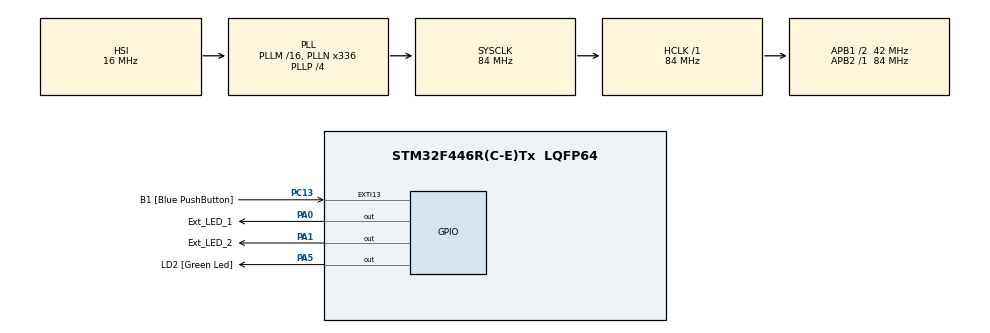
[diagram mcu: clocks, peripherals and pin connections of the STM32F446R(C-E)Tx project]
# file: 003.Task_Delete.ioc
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Mcu.Family=STM32F4
Mcu.Name=STM32F446R(C-E)Tx
Mcu.Package=LQFP64
NVIC.PriorityGroup=NVIC_PRIORITYGROUP_4
NVIC.TIM6_DAC_IRQn=true\:0\:0\:false\:false\:true\:false\:true\:true
NVIC.TimeBase=TIM6_DAC_IRQn
NVIC.TimeBaseIP=TIM6
PA0-WKUP.GPIO_Label=Ext_LED_1
PA0-WKUP.Signal=GPIO_Output
PA1.GPIO_Label=Ext_LED_2
PA1.Signal=GPIO_Output
PA13.GPIO_Label=TMS
PA13.Signal=SYS_JTMS-SWDIO
PA14.GPIO_Label=TCK
PA14.Signal=SYS_JTCK-SWCLK
PA2.GPIO_Label=USART_TX
PA2.Signal=USART2_TX
PA3.GPIO_Label=USART_RX
PA3.Signal=USART2_RX
PA5.GPIO_Label=LD2 [Green Led]
PA5.Signal=GPIO_Output
PB3.GPIO_Label=SWO
PB3.Signal=SYS_JTDO-SWO
PC13.GPIO_Label=B1 [Blue PushButton]
PC13.GPIO_ModeDefaultEXTI=GPIO_MODE_IT_FALLING
PC13.Signal=GPXTI13
PC14-OSC32_IN.Signal=RCC_OSC32_IN
PC15-OSC32_OUT.Signal=RCC_OSC32_OUT
PH0-OSC_IN.Signal=RCC_OSC_IN
PH1-OSC_OUT.Signal=RCC_OSC_OUT
ProjectManager.HeapSize=0x200
ProjectManager.StackSize=0x400
ProjectManager.TargetToolchain=STM32CubeIDE
RCC.AHBFreq_Value=84000000
RCC.APB1CLKDivider=RCC_HCLK_DIV2
RCC.APB1Freq_Value=42000000
RCC.APB1TimFreq_Value=84000000
RCC.APB2Freq_Value=84000000
RCC.APB2TimFreq_Value=84000000
RCC.CortexFreq_Value=84000000
RCC.FLatency-AdvancedSettings=FLASH_LATENCY_2
RCC.HCLKFreq_Value=84000000
RCC.HSE_VALUE=8000000
RCC.HSI_VALUE=16000000
RCC.LSE_VALUE=32768
RCC.PLLN=336
RCC.PLLP=RCC_PLLP_DIV4
RCC.SYSCLKFreq_VALUE=84000000
RCC.SYSCLKSource=RCC_SYSCLKSOURCE_PLLCLK
RCC.USBFreq_Value=168000000
RCC.VCOOutputFreq_Value=336000000
VP_SYS_VS_tim6.Mode=TIM6
board=NUCLEO-F446RE

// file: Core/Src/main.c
/* USER CODE BEGIN Header */
/**
  ******************************************************************************
  * @file           : main.c
  * @brief          : Main program body
  ******************************************************************************
  * @attention
  *
  * Copyright (c) 2025 STMicroelectronics.
  * All rights reserved.
  *
  * This software is licensed under terms that can be found in the LICENSE file
  * in the root directory of this software component.
  * If no LICENSE file comes with this software, it is provided AS-IS.
  *
  ******************************************************************************
  */
/* USER CODE END Header */
#include "main.h"

/* USER CODE BEGIN Includes */

#include <stdio.h>
#include "FreeRTOS.h"
#include "task.h"

/* USER CODE END Includes */

/* USER CODE BEGIN PV */

#define DWT_CTRL		(*(volatile uint32_t*)0xE0001000)

volatile uint8_t task_count =0;

/* USER CODE END PV */

void SystemClock_Config(void);
static void MX_GPIO_Init(void);
/* USER CODE BEGIN PFP */

static void Ext_LED1_task(void *parameter);
static void Ext_LED2_task(void *parameter);
static void Ext_LED3_task(void *parameter);
static void Button_task(void *parameter);

extern void SEGGER_UART_init(uint32_t);

TaskHandle_t Led1_task = NULL;
TaskHandle_t Led2_task = NULL;
TaskHandle_t Led3_task = NULL;
TaskHandle_t Btn_task = NULL;

TaskHandle_t volatile next_task_handle = NULL;

/* USER CODE END PFP */

int main(void)
{

  /* USER CODE BEGIN 1 */

	BaseType_t status;

  /* USER CODE END 1 */

  /* MCU Configuration--------------------------------------------------------*/

  /* Reset of all peripherals, Initializes the Flash interface and the Systick. */
  HAL_Init();

  /* Configure the system clock */
  SystemClock_Config();

  /* Initialize all configured peripherals */
  MX_GPIO_Init();
  /* USER CODE BEGIN 2 */

  SEGGER_UART_init(500000);

  //Enable the CYCCNT (Cyclic Clock Counter)
  DWT_CTRL |= (1 << 0);

  SEGGER_SYSVIEW_Conf();
  //SEGGER_SYSVIEW_Start(); // this is initialized in SEGGER_UART_Init();

  status = xTaskCreate(Ext_LED1_task, "LED1_Task", 200, NULL, 1, &Led1_task);
  configASSERT(status == pdPASS);

  next_task_handle = Led1_task;

  status = xTaskCreate(Ext_LED2_task, "LED2_Task", 200, NULL, 2, &Led2_task);
  configASSERT(status == pdPASS);

  status = xTaskCreate(Ext_LED3_task, "LED3_Task", 200, NULL, 3, &Led3_task);
  configASSERT(status == pdPASS);

  status = xTaskCreate(Button_task, "Button_Task", 200, NULL, 4, &Btn_task);
  configASSERT(status == pdPASS);

  vTaskStartScheduler();

  /* USER CODE END 2 */

  /* Infinite loop */
  while (1)
  {

  }
}

void SystemClock_Config(void)
{
  RCC_OscInitTypeDef RCC_OscInitStruct = {0};
  RCC_ClkInitTypeDef RCC_ClkInitStruct = {0};

  /** Configure the main internal regulator output voltage
  */
  __HAL_RCC_PWR_CLK_ENABLE();
  __HAL_PWR_VOLTAGESCALING_CONFIG(PWR_REGULATOR_VOLTAGE_SCALE3);

  /** Initializes the RCC Oscillators according to the specified parameters
  * in the RCC_OscInitTypeDef structure.
  */
  RCC_OscInitStruct.OscillatorType = RCC_OSCILLATORTYPE_HSI;
  RCC_OscInitStruct.HSIState = RCC_HSI_ON;
  RCC_OscInitStruct.HSICalibrationValue = RCC_HSICALIBRATION_DEFAULT;
  RCC_OscInitStruct.PLL.PLLState = RCC_PLL_ON;
  RCC_OscInitStruct.PLL.PLLSource = RCC_PLLSOURCE_HSI;
  RCC_OscInitStruct.PLL.PLLM = 16;
  RCC_OscInitStruct.PLL.PLLN = 336;
  RCC_OscInitStruct.PLL.PLLP = RCC_PLLP_DIV4;
  RCC_OscInitStruct.PLL.PLLQ = 2;
  RCC_OscInitStruct.PLL.PLLR = 2;
  if (HAL_RCC_OscConfig(&RCC_OscInitStruct) != HAL_OK)
  {
    Error_Handler();
  }

  /** Initializes the CPU, AHB and APB buses clocks
  */
  RCC_ClkInitStruct.ClockType = RCC_CLOCKTYPE_HCLK|RCC_CLOCKTYPE_SYSCLK
                              |RCC_CLOCKTYPE_PCLK1|RCC_CLOCKTYPE_PCLK2;
  RCC_ClkInitStruct.SYSCLKSource = RCC_SYSCLKSOURCE_PLLCLK;
  RCC_ClkInitStruct.AHBCLKDivider = RCC_SYSCLK_DIV1;
  RCC_ClkInitStruct.APB1CLKDivider = RCC_HCLK_DIV2;
  RCC_ClkInitStruct.APB2CLKDivider = RCC_HCLK_DIV1;

  if (HAL_RCC_ClockConfig(&RCC_ClkInitStruct, FLASH_LATENCY_2) != HAL_OK)
  {
    Error_Handler();
  }
}

static void MX_GPIO_Init(void)
{
  GPIO_InitTypeDef GPIO_InitStruct = {0};

  /* GPIO Ports Clock Enable */
  __HAL_RCC_GPIOC_CLK_ENABLE();
  __HAL_RCC_GPIOH_CLK_ENABLE();
  __HAL_RCC_GPIOA_CLK_ENABLE();
  __HAL_RCC_GPIOB_CLK_ENABLE();

  /*Configure GPIO pin Output Level */
  HAL_GPIO_WritePin(GPIOA, Ext_LED_1_Pin|Ext_LED_2_Pin|LD2_Pin, GPIO_PIN_RESET);

  /*Configure GPIO pin : B1_Pin */
  GPIO_InitStruct.Pin = B1_Pin;
  GPIO_InitStruct.Mode = GPIO_MODE_IT_FALLING;
  GPIO_InitStruct.Pull = GPIO_NOPULL;
  HAL_GPIO_Init(B1_GPIO_Port, &GPIO_InitStruct);

  /*Configure GPIO pins : Ext_LED_1_Pin Ext_LED_2_Pin LD2_Pin */
  GPIO_InitStruct.Pin = Ext_LED_1_Pin|Ext_LED_2_Pin|LD2_Pin;
  GPIO_InitStruct.Mode = GPIO_MODE_OUTPUT_PP;
  GPIO_InitStruct.Pull = GPIO_NOPULL;
  GPIO_InitStruct.Speed = GPIO_SPEED_FREQ_LOW;
  HAL_GPIO_Init(GPIOA, &GPIO_InitStruct);

  /*Configure GPIO pins : USART_TX_Pin USART_RX_Pin */
  GPIO_InitStruct.Pin = USART_TX_Pin|USART_RX_Pin;
  GPIO_InitStruct.Mode = GPIO_MODE_AF_PP;
  GPIO_InitStruct.Pull = GPIO_NOPULL;
  GPIO_InitStruct.Speed = GPIO_SPEED_FREQ_VERY_HIGH;
  GPIO_InitStruct.Alternate = GPIO_AF7_USART2;
  HAL_GPIO_Init(GPIOA, &GPIO_InitStruct);

}

/* USER CODE BEGIN 4 */

static void Ext_LED1_task(void *parameter)
{

	BaseType_t status;
	while(1)
	{
	SEGGER_SYSVIEW_PrintfTarget("LED1_Toggling");
	HAL_GPIO_TogglePin(GPIOA, GPIO_PIN_0);
	status = xTaskNotifyWait(0,0,NULL,pdMS_TO_TICKS(1000));

		if(status == pdTRUE)
		{
			vTaskSuspendAll();
			next_task_handle = Led2_task;
			xTaskResumeAll();
			HAL_GPIO_WritePin(GPIOA, GPIO_PIN_0, GPIO_PIN_SET);
			//vTaskDelete(NULL); // if we want delete task running task parameter should be NULL
			vTaskSuspend(Led1_task);

		}
	}
}
static void Ext_LED2_task(void *parameter)
{
	BaseType_t status;
	while(1){
	SEGGER_SYSVIEW_PrintfTarget("LED2_Toggling");
	HAL_GPIO_TogglePin(GPIOA, GPIO_PIN_1);
	status = xTaskNotifyWait(0,0,NULL,pdMS_TO_TICKS(800));

		if(status == pdTRUE)
		{
			vTaskSuspendAll();
			next_task_handle = Led3_task;
			xTaskResumeAll();
			HAL_GPIO_WritePin(GPIOA, GPIO_PIN_1, GPIO_PIN_SET);
			//vTaskDelete(NULL); // if we want delete task running task parameter should be NULL
			vTaskSuspend(Led2_task);
		}
	}
}
static void Ext_LED3_task(void *parameter)
{
	BaseType_t status;
	while(1){
	SEGGER_SYSVIEW_PrintfTarget("LED3_Toggling");
	HAL_GPIO_TogglePin(GPIOA, GPIO_PIN_5);
	status = xTaskNotifyWait(0,0,NULL,pdMS_TO_TICKS(400));

		if(status == pdTRUE)
		{
			vTaskSuspendAll();
			next_task_handle = NULL;
			xTaskResumeAll();
			HAL_GPIO_WritePin(GPIOA, GPIO_PIN_5, GPIO_PIN_SET);
			//vTaskDelete(Btn_task);
			//vTaskDelete(NULL); // if we want delete task running task parameter should be NULL
			vTaskSuspend(Led3_task);
		}
	}
}

static void Button_task(void *parameter)
{
	uint8_t btn_read = 1;
	uint8_t btn_prev = 1;

	while(1)
	{
		btn_read = HAL_GPIO_ReadPin(B1_GPIO_Port, B1_Pin);

		if(!btn_read)
		{
			if(btn_prev)
			{
				task_count++;
				if(task_count <4)
				{
					xTaskNotify(next_task_handle,0,eNoAction);

				}
				else
				{
					vTaskResume(Led1_task);
					vTaskResume(Led2_task);
					vTaskResume(Led3_task);
					vTaskSuspendAll();
					next_task_handle = Led1_task;
					xTaskResumeAll();
					task_count = 0;
				}

			}
		}
		btn_prev = btn_read;
		vTaskDelay(pdMS_TO_TICKS(10));
	}

}

/* USER CODE END 4 */

void HAL_TIM_PeriodElapsedCallback(TIM_HandleTypeDef *htim)
{
  if (htim->Instance == TIM6) {
    HAL_IncTick();
  }
}

void Error_Handler(void)
{
  __disable_irq();
  while (1)
  {
  }
}
